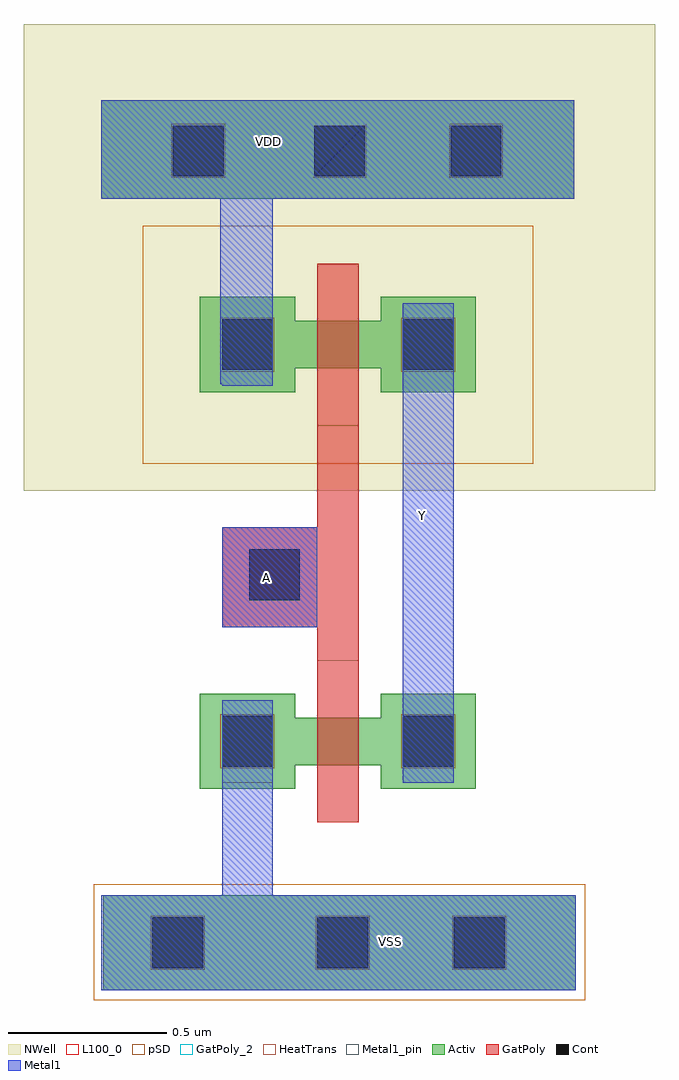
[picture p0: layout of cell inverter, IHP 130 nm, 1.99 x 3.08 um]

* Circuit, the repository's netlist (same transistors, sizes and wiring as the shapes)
* Extracted by KLayout with SG13G2 LVS runset on : 14/09/2026 16:26

.SUBCKT inverter A VDD VSS Y
M$1 VSS A Y VSS sg13_lv_nmos L=0.13u W=0.15u AS=0.1005p AD=0.1005p PS=1.34u
+ PD=1.34u rfmode=0
M$2 VDD A Y VDD sg13_lv_pmos L=0.13u W=0.15u AS=0.1005p AD=0.1005p PS=1.34u
+ PD=1.34u rfmode=0
.ENDS inverter

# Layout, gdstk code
import gdstk
lib = gdstk.Library(unit=1e-6, precision=5e-09)
def R(c, l, rs):  # rectangles x0, y0, x1, y1
    for r in rs: c.add(gdstk.rectangle(r[:2], r[2:], *l))
def P(c, l, *ps):  # polygons
    for p in ps: c.add(gdstk.Polygon(p, *l))
Activ = (1, 0)
GatPoly = (5, 0)
GatPoly_2 = (5, 2)
Cont = (6, 0)
Metal1 = (8, 0)
Metal1_pin = (8, 2)
pSD = (14, 0)
NWell = (31, 0)
HeatTrans = (51, 0)
L100_0 = (100, 0)

nmos = lib.new_cell('nmos')
R(nmos, Activ, [(0,0,0.3,0.3), (0.57,0,0.87,0.3), (0,0.075,0.87,0.225)])
R(nmos, GatPoly, [(0.37,-0.105,0.5,0.405)])
R(nmos, GatPoly_2, [(0.37,-0.105,0.5,0.405)])
R(nmos, Cont, [(0.07,0.07,0.23,0.23), (0.64,0.07,0.8,0.23)])
R(nmos, Metal1, [(0.07,0.02,0.23,0.28), (0.64,0.02,0.8,0.28)])
R(nmos, Metal1_pin, [(0.07,0.02,0.23,0.28), (0.64,0.02,0.8,0.28)])
R(nmos, HeatTrans, [(0.37,-0.105,0.5,0.405)])
nmos.add(gdstk.Label('nmos', (0.435,0.15), layer=63, texttype=0))
nmos.add(gdstk.Label('nmos', (0.435,0.15), layer=51, texttype=0))

pmos = lib.new_cell('pmos')
R(pmos, Activ, [(0,0,0.3,0.3), (0.57,0,0.87,0.3), (0,0.075,0.87,0.225)])
R(pmos, GatPoly, [(0.37,-0.105,0.5,0.405), (0.37,-0.105,0.5,0.405)])
R(pmos, Cont, [(0.07,0.07,0.23,0.23), (0.64,0.07,0.8,0.23)])
R(pmos, Metal1, [(0.07,0.02,0.23,0.28), (0.07,0.02,0.23,0.28), (0.64,0.02,0.8,0.28), (0.64,0.02,0.8,0.28)])
R(pmos, pSD, [(-0.18,-0.225,1.05,0.525)])
R(pmos, NWell, [(-0.31,-0.31,1.18,0.61)])
R(pmos, HeatTrans, [(0.37,-0.105,0.5,0.405)])
pmos.add(gdstk.Label('pmos', (0.435,0.15), layer=63, texttype=0))
pmos.add(gdstk.Label('pmos', (0.435,0.15), layer=51, texttype=0))

inverter = lib.new_cell('inverter')
R(inverter, Activ, [(-0.405,-0.565,1.085,-0.265), (-0.41,1.93,1.08,2.24)])
R(inverter, GatPoly, [(0.27,-0.035,0.4,1.725), (-0.03,0.58,0.275,0.895)])
R(inverter, Cont, [(-0.25,-0.495,-0.09,-0.335), (0.27,-0.495,0.43,-0.335), (0.7,-0.495,0.86,-0.335), (0.055,0.665,0.215,0.825), (-0.185,2,-0.025,2.16), (0.26,2,0.42,2.16), (0.69,2,0.85,2.16)])
R(inverter, Metal1, [(-0.41,-0.565,1.085,-0.265), (-0.03,-0.335,0.13,0.35), (0.54,0.09,0.7,1.6), (-0.03,0.58,0.27,0.895), (-0.035,1.345,0.13,2.03), (-0.41,1.93,1.08,2.24)])
R(inverter, Metal1_pin, [(-0.41,-0.565,1.085,-0.265), (0.54,0.09,0.7,1.6), (-0.03,0.58,0.27,0.895), (-0.41,1.93,1.08,2.24)])
R(inverter, pSD, [(-0.435,-0.595,1.115,-0.23)])
R(inverter, NWell, [(-0.655,1.01,1.335,2.48)])
R(inverter, L100_0, [(-0.255,-0.5,-0.085,-0.33), (-0.255,-0.5,-0.085,-0.33), (0.265,-0.5,0.435,-0.33), (0.265,-0.5,0.435,-0.33), (0.695,-0.5,0.865,-0.33), (0.695,-0.5,0.865,-0.33), (-0.035,0.135,0.135,0.305), (-0.035,0.135,0.135,0.305), (0.535,0.135,0.705,0.305), (0.535,0.135,0.705,0.305), (-0.035,1.385,0.135,1.555), (-0.035,1.385,0.135,1.555), (0.535,1.385,0.705,1.555), (0.535,1.385,0.705,1.555), (-0.19,1.995,-0.02,2.165), (-0.19,1.995,-0.02,2.165), (0.685,1.995,0.855,2.165), (0.685,1.995,0.855,2.165)])
P(inverter, L100_0, [(0.255,1.995),(0.425,2.165),(0.425,1.995)],
  [(0.255,1.995),(0.425,2.165),(0.425,1.995)])
inverter.add(gdstk.Reference(nmos, (-0.1,0.07)))
inverter.add(gdstk.Reference(pmos, (-0.1,1.32)))
inverter.add(gdstk.Label('VDD', (0.115,2.11), layer=8, texttype=25))
inverter.add(gdstk.Label('A', (0.11,0.735), layer=8, texttype=25))
inverter.add(gdstk.Label('VSS', (0.5,-0.41), layer=8, texttype=25))
inverter.add(gdstk.Label('Y', (0.6,0.93), layer=8, texttype=25))

lib.write_gds('inverter.gds')
